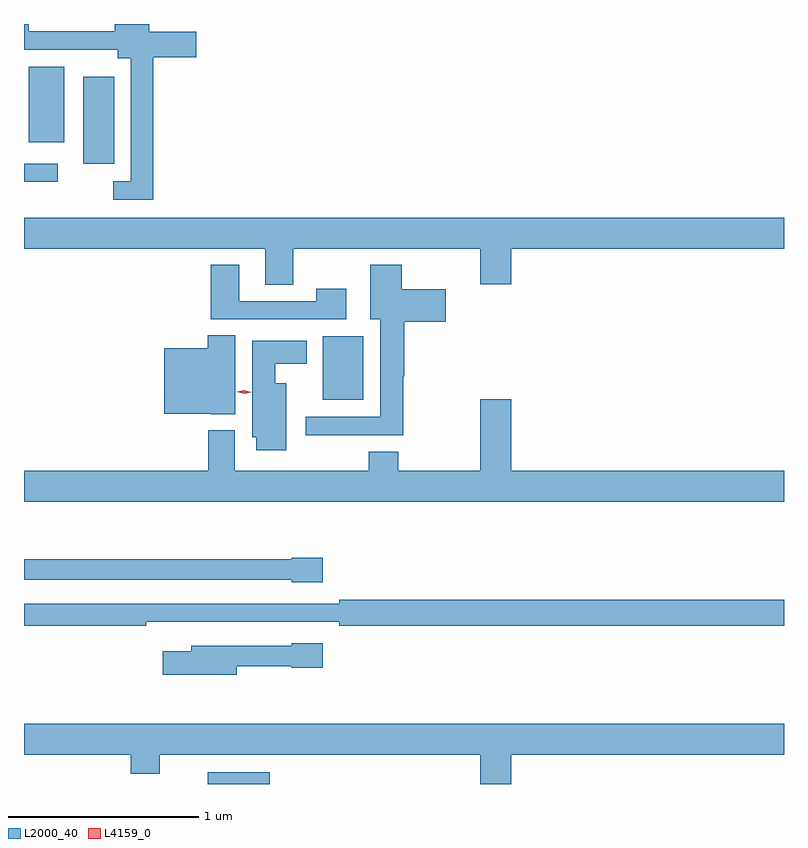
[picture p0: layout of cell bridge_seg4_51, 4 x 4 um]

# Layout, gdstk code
import gdstk
lib = gdstk.Library(unit=1e-6, precision=1e-09)
def R(c, l, rs):  # rectangles x0, y0, x1, y1
    for r in rs: c.add(gdstk.rectangle(r[:2], r[2:], *l))
def P(c, l, *ps):  # polygons
    for p in ps: c.add(gdstk.Polygon(p, *l))
L2000_40 = (2000, 40)
L4159_0 = (4159, 0)

bridge_seg4_51 = lib.new_cell('bridge_seg4_51')
R(bridge_seg4_51, L2000_40, [(738.997,766.031,739.324,766.092), (739.604,768.053,739.816,768.388), (738.031,769.2,738.208,769.296), (738.344,769.295,738.505,769.753), (738.056,769.409,738.244,769.807)])
P(bridge_seg4_51, L2000_40, [(738.71,769.856),(738.937,769.856),(738.937,769.99),(738.691,769.99),(738.691,770.031),(738.509,770.031),(738.509,769.992),(738.055,769.992),(738.055,770.031),(738.031,770.031),(738.031,769.896),(738.524,769.896),(738.524,769.85),(738.594,769.85),(738.594,769.203),(738.501,769.203),(738.501,769.107),(738.71,769.107)],
  [(739.449,768.848),(740.432,768.848),(740.432,768.66),(740.596,768.66),(740.596,768.848),(742.031,768.848),(742.031,769.012),(738.031,769.012),(738.031,768.848),(739.301,768.848),(739.301,768.658),(739.449,768.658)],
  [(740.028,768.176),(740.033,768.176),(740.033,768.464),(740.251,768.464),(740.251,768.634),(740.02,768.634),(740.02,768.763),(739.853,768.763),(739.853,768.476),(739.907,768.476),(739.907,767.964),(739.515,767.964),(739.515,767.867),(740.028,767.867)],
  [(739.726,768.637),(739.57,768.637),(739.57,768.573),(739.165,768.573),(739.165,768.763),(739.013,768.763),(739.013,768.477),(739.726,768.477)],
  [(739.144,768.392),(738.998,768.392),(738.998,768.325),(738.77,768.325),(738.77,767.981),(739.014,767.981),(739.014,767.978),(739.144,767.978)],
  [(739.411,768.139),(739.354,768.139),(739.354,768.242),(739.519,768.242),(739.519,768.364),(739.232,768.364),(739.232,767.856),(739.253,767.856),(739.253,767.787),(739.411,767.787)],
  [(742.031,767.68),(740.596,767.68),(740.596,768.055),(740.432,768.055),(740.432,767.68),(740.001,767.68),(740.001,767.779),(739.846,767.779),(739.846,767.68),(739.141,767.68),(739.141,767.893),(739.001,767.893),(739.001,767.68),(738.031,767.68),(738.031,767.516),(742.031,767.516)],
  [(739.603,767.223),(739.44,767.223),(739.44,767.215),(738.031,767.215),(738.031,767.106),(739.44,767.106),(739.44,767.093),(739.603,767.093)],
  [(738.674,766.884),(739.69,766.884),(739.69,766.864),(742.031,766.864),(742.031,767),(739.69,767),(739.69,766.98),(738.031,766.98),(738.031,766.864),(738.674,766.864)],
  [(739.15,766.65),(739.44,766.65),(739.44,766.642),(739.603,766.642),(739.603,766.771),(739.44,766.771),(739.44,766.758),(738.911,766.758),(738.911,766.729),(738.762,766.729),(738.762,766.607),(739.15,766.607)],
  [(740.596,766.184),(742.031,766.184),(742.031,766.348),(738.031,766.348),(738.031,766.184),(738.593,766.184),(738.593,766.085),(738.745,766.085),(738.745,766.184),(740.432,766.184),(740.432,766.031),(740.596,766.031)])
P(bridge_seg4_51, L4159_0, [(739.189,768.084),(739.151,768.096),(739.15,768.096),(739.151,768.096),(739.19,768.104),(739.228,768.093),(739.228,768.093),(739.228,768.093)])

lib.write_gds('bridge_seg4_51.gds')
